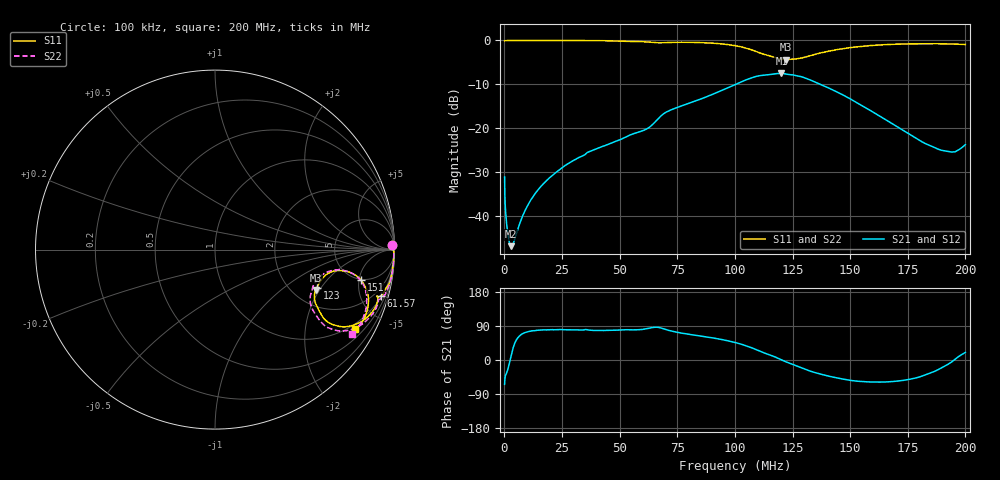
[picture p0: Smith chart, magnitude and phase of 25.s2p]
#  HZ  S  RI  R  50.00
! Rohde & Schwarz Vector Network Analyzer
! Rohde-Schwarz,ZNLE6-2Port,1323001256200024,1.71.1.10-23.02.1.238
! Created: UTC 4/7/2025, 6:25:13 AM
! freq[Hz]  re:S11  im:S11  re:S21  im:S21  re:S12  im:S12  re:S22  im:S22
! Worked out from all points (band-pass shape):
!   1001 points, 100 kHz to 200 MHz, reference 50 ohm
!   highest |S21| = -7.55 dB at 120.2 MHz (marker M1); lowest = -46.9 dB at 2.989 MHz (marker M2)
!   |S21| within 3 dB of the highest: 98.11 MHz to 139.4 MHz (41.3 MHz wide, 34.8 % of centre)
!   lowest |S11| = -4.4 dB at 122 MHz (marker M3), VSWR 4.06, Z = 131 - j92.4 ohm
!   |S11| at or under -10 dB: nowhere
!   |S22| runs from -4.7 to 0.0 dB; largest |S21 - S12| = 0.0081
!   S11 on the Smith chart (normalised r, x): 100 kHz: 31, +66; 61.57 MHz: 1.09, -7.15; 123 MHz: 2.73, -1.83; 151 MHz: 4.83, -5.38; 200 MHz: 0.79, -3.62
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100000  0.9881 0.0247  0.012 -0.025  0.0121 -0.0251  0.9882 0.0247
355854.1  0.9902 0.00834  0.00971 -0.00929  0.00973 -0.00931  0.9905 0.00835
1266322  0.9939 0.000181  0.00606 -0.00337  0.00607 -0.00338  0.994 5.74e-05
2989237  0.9957 -0.00855  0.0044 0.00101  0.00442 0.000919  0.9958 -0.0089
4472136  0.9959 -0.0152  0.00389 0.00374  0.00393 0.00369  0.9964 -0.0155
1.591428e7  0.9947 -0.0616  0.00417 0.0213  0.00439 0.0213  0.9951 -0.0632
3.616581e7  0.9823 -0.1457  0.00969 0.0521  0.0111 0.0516  0.983 -0.1465
5.663162e7  0.9431 -0.2343  0.0158 0.0859  0.0182 0.085  0.9509 -0.2431
6.157017e7  0.9247 -0.2577  0.0127 0.0964  0.0137 0.096  0.9323 -0.2678
7.059743e7  0.9056 -0.2637  0.0284 0.1513  0.0333 0.1501  0.9103 -0.2869
8.408385e7  0.8815 -0.3396  0.0909 0.1881  0.0971 0.1856  0.8726 -0.365
1.009107e8  0.7493 -0.4267  0.2267 0.2258  0.2332 0.2211  0.7327 -0.4517
1.088799e8  0.6328 -0.4065  0.3396 0.1831  0.3444 0.1768  0.6177 -0.4287
1.20188e8  0.554 -0.2562  0.4192 0.00422  0.419 -0.00274  0.5292 -0.279
1.22029e8  0.5611 -0.2247  0.4124 -0.0328  0.4113 -0.0395  0.5344 -0.2459
1.229601e8  0.5674 -0.2122  0.4066 -0.048  0.4051 -0.0546  0.5388 -0.2327
1.347027e8  0.6831 -0.1173  0.281 -0.1834  0.2759 -0.1871  0.6591 -0.1154
1.509704e8  0.8146 -0.171  0.1212 -0.1694  0.1162 -0.1703  0.8104 -0.1709
1.653881e8  0.8541 -0.2627  0.0663 -0.1058  0.0616 -0.1074  0.8458 -0.2743
1.853616e8  0.8322 -0.382  0.0521 -0.0337  0.0508 -0.0358  0.8165 -0.4011
1.910838e8  0.8148 -0.4114  0.0529 -0.015  0.0525 -0.0171  0.7973 -0.432
2e8  0.7799 -0.4438  0.0609 0.0222  0.0621 0.0203  0.7656 -0.4678
